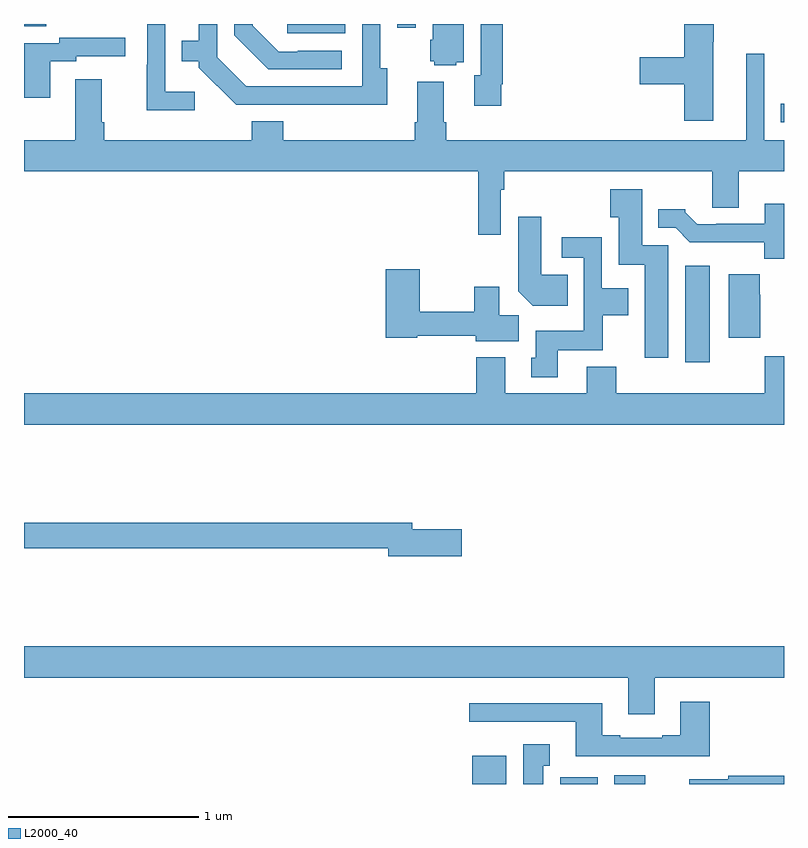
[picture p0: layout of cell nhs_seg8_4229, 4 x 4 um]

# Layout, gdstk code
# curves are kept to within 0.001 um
import gdstk
lib = gdstk.Library(unit=1e-6, precision=1e-09)
def R(c, l, rs):  # rectangles x0, y0, x1, y1
    for r in rs: c.add(gdstk.rectangle(r[:2], r[2:], *l))
def P(c, l, *ps):  # polygons
    for p in ps: c.add(gdstk.Polygon(p, *l))
L2000_40 = (2000, 40)

nhs_seg8_4229 = lib.new_cell('nhs_seg8_4229')
R(nhs_seg8_4229, L2000_40, [(371.36,1155.9,371.539,1156.048), (371.823,1155.9,372.019,1155.936), (372.107,1155.9,372.271,1155.946), (372.479,1158.12,372.61,1158.628), (372.982,1159.383,373,1159.479), (370.386,1159.851,370.69,1159.9), (370.965,1159.881,371.061,1159.9), (369,1159.889,369.117,1159.9)])
P(nhs_seg8_4229, L2000_40, [(369.898,1159.543),(369.744,1159.543),(369.744,1159.9),(369.648,1159.9),(369.648,1159.685),(369.646,1159.685),(369.646,1159.445),(369.898,1159.445)],
  [(370.672,1159.758),(370.441,1159.758),(370.441,1159.755),(370.341,1159.755),(370.204,1159.892),(370.204,1159.9),(370.107,1159.9),(370.107,1159.841),(370.286,1159.662),(370.672,1159.662)],
  [(371.274,1159.7),(371.314,1159.7),(371.314,1159.9),(371.15,1159.9),(371.15,1159.818),(371.138,1159.818),(371.138,1159.704),(371.16,1159.704),(371.16,1159.682),(371.274,1159.682)],
  [(371.512,1159.582),(371.519,1159.582),(371.519,1159.9),(371.403,1159.9),(371.403,1159.631),(371.369,1159.631),(371.369,1159.47),(371.512,1159.47)],
  [(372.628,1159.807),(372.63,1159.807),(372.63,1159.9),(372.476,1159.9),(372.476,1159.724),(372.24,1159.724),(372.24,1159.582),(372.476,1159.582),(372.476,1159.392),(372.628,1159.392)],
  [(370.912,1159.666),(370.875,1159.666),(370.875,1159.9),(370.779,1159.9),(370.779,1159.572),(370.17,1159.572),(370.017,1159.725),(370.017,1159.9),(369.92,1159.9),(369.92,1159.813),(369.829,1159.813),(369.829,1159.703),(369.921,1159.703),(369.921,1159.671),(370.116,1159.476),(370.912,1159.475)],
  [(369.139,1159.704),(369.276,1159.704),(369.276,1159.731),(369.532,1159.731),(369.532,1159.827),(369.186,1159.827),(369.186,1159.8),(369,1159.8),(369,1159.512),(369.139,1159.512)],
  [(371.508,1159.028),(371.528,1159.028),(371.528,1159.124),(372.623,1159.124),(372.623,1158.934),(372.763,1158.934),(372.763,1159.124),(373,1159.124),(373,1159.288),(372.897,1159.288),(372.897,1159.744),(372.8,1159.744),(372.8,1159.288),(371.222,1159.288),(371.222,1159.384),(371.209,1159.384),(371.209,1159.597),(371.069,1159.597),(371.069,1159.384),(371.057,1159.384),(371.057,1159.288),(370.364,1159.288),(370.364,1159.387),(370.199,1159.387),(370.199,1159.288),(369.422,1159.288),(369.422,1159.384),(369.409,1159.384),(369.409,1159.609),(369.269,1159.609),(369.269,1159.288),(369,1159.288),(369,1159.124),(371.392,1159.124),(371.392,1158.792),(371.508,1158.792)],
  [(372.391,1158.735),(372.253,1158.735),(372.253,1159.03),(372.085,1159.03),(372.085,1158.883),(372.131,1158.883),(372.131,1158.632),(372.266,1158.632),(372.266,1158.144),(372.391,1158.144)],
  [(373,1158.955),(372.899,1158.955),(372.899,1158.849),(372.643,1158.849),(372.643,1158.846),(372.544,1158.846),(372.48,1158.91),(372.48,1158.925),(372.338,1158.925),(372.338,1158.828),(372.429,1158.828),(372.505,1158.752),(372.897,1158.752),(372.897,1158.665),(373,1158.665)],
  [(371.861,1158.58),(371.722,1158.58),(371.722,1158.886),(371.6,1158.886),(371.6,1158.494),(371.678,1158.416),(371.861,1158.416)],
  [(371.809,1158.182),(372.045,1158.182),(372.045,1158.368),(372.181,1158.368),(372.181,1158.508),(372.042,1158.508),(372.042,1158.778),(371.829,1158.778),(371.829,1158.669),(371.946,1158.669),(371.946,1158.286),(371.693,1158.286),(371.693,1158.144),(371.669,1158.144),(371.669,1158.042),(371.809,1158.042)],
  [(371.605,1158.368),(371.5,1158.368),(371.5,1158.517),(371.371,1158.517),(371.371,1158.386),(371.082,1158.386),(371.082,1158.61),(370.904,1158.61),(370.904,1158.25),(371.07,1158.25),(371.07,1158.258),(371.378,1158.258),(371.378,1158.23),(371.605,1158.23)],
  [(372.874,1158.476),(372.872,1158.476),(372.872,1158.583),(372.71,1158.583),(372.71,1158.249),(372.874,1158.249)],
  [(373,1158.151),(372.899,1158.151),(372.899,1157.956),(372.116,1157.956),(372.116,1158.097),(371.963,1158.097),(371.963,1157.956),(371.533,1157.956),(371.533,1158.145),(371.381,1158.145),(371.381,1157.956),(369,1157.956),(369,1157.792),(373,1157.792)],
  [(371.305,1157.24),(371.044,1157.24),(371.044,1157.276),(369,1157.276),(369,1157.14),(370.916,1157.14),(370.916,1157.098),(371.305,1157.098)],
  [(372.319,1156.46),(373,1156.46),(373,1156.624),(369,1156.624),(369,1156.46),(372.179,1156.46),(372.179,1156.266),(372.319,1156.266)],
  [(372.608,1156.333),(372.455,1156.333),(372.455,1156.156),(372.359,1156.156),(372.359,1156.143),(372.139,1156.143),(372.139,1156.156),(372.043,1156.156),(372.043,1156.324),(371.343,1156.324),(371.343,1156.227),(371.903,1156.227),(371.903,1156.047),(372.608,1156.047)],
  [(371.734,1155.995),(371.767,1155.995),(371.767,1156.108),(371.627,1156.108),(371.627,1155.9),(371.734,1155.9)],
  [(373,1155.944),(372.706,1155.944),(372.706,1155.924),(372.5,1155.924),(372.5,1155.9),(373,1155.9)])

lib.write_gds('nhs_seg8_4229.gds')
